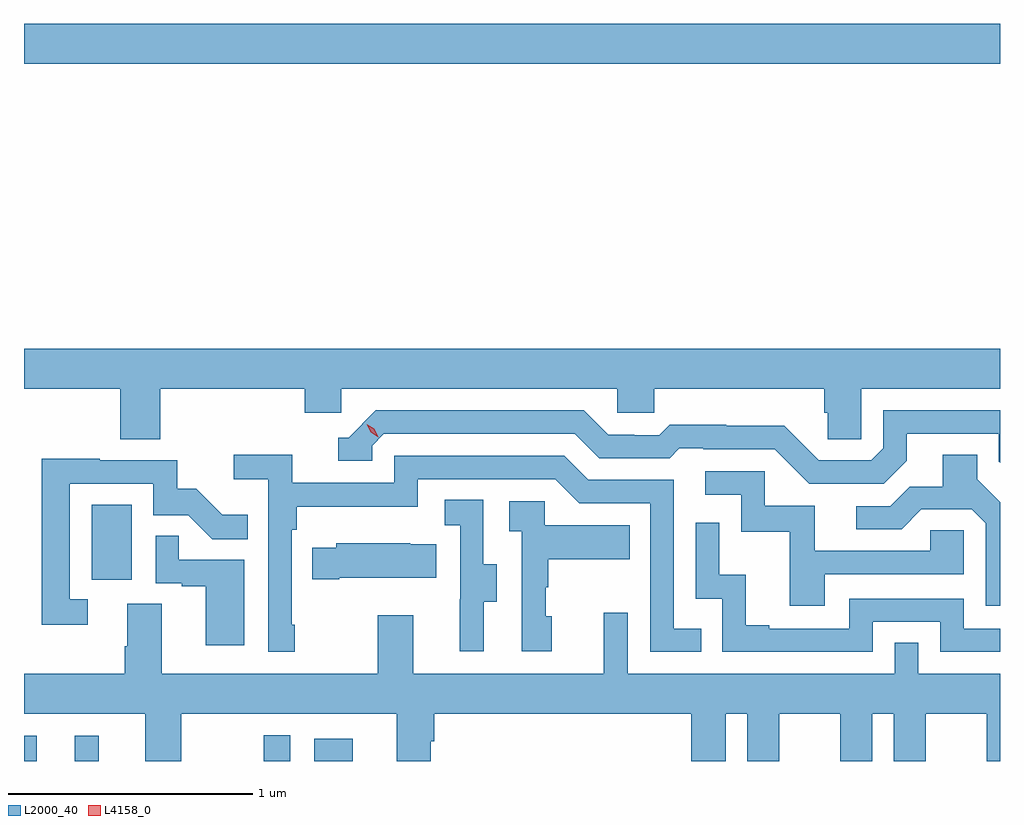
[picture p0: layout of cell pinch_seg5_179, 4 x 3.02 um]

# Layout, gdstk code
import gdstk
lib = gdstk.Library(unit=1e-6, precision=1e-09)
def R(c, l, rs):  # rectangles x0, y0, x1, y1
    for r in rs: c.add(gdstk.rectangle(r[:2], r[2:], *l))
def P(c, l, *ps):  # polygons
    for p in ps: c.add(gdstk.Polygon(p, *l))
L2000_40 = (2000, 40)
L4158_0 = (4158, 0)

pinch_seg5_179 = lib.new_cell('pinch_seg5_179')
R(pinch_seg5_179, L2000_40, [(1116.313,877.877,1116.366,877.981), (1116.521,877.877,1116.62,877.981), (1117.296,877.877,1117.404,877.984), (1117.502,877.877,1117.66,877.969), (1116.59,878.622,1116.754,878.929), (1116.313,880.736,1120.313,880.9)])
P(pinch_seg5_179, L2000_40, [(1116.872,879.404),(1117.463,879.404),(1117.463,879.306),(1117.614,879.306),(1117.614,879.404),(1118.745,879.404),(1118.745,879.306),(1118.895,879.306),(1118.895,879.404),(1119.593,879.404),(1119.593,879.306),(1119.607,879.306),(1119.607,879.196),(1119.744,879.196),(1119.744,879.404),(1120.313,879.404),(1120.313,879.568),(1116.313,879.568),(1116.313,879.404),(1116.707,879.404),(1116.707,879.196),(1116.872,879.196)],
  [(1119.931,879.109),(1119.931,879.219),(1120.308,879.219),(1120.308,879.105),(1120.313,879.1),(1120.313,879.315),(1119.834,879.315),(1119.834,879.159),(1119.786,879.111),(1119.57,879.111),(1119.428,879.253),(1119.192,879.253),(1119.192,879.256),(1118.959,879.256),(1118.917,879.213),(1118.814,879.213),(1118.814,879.216),(1118.707,879.216),(1118.608,879.315),(1117.755,879.315),(1117.644,879.204),(1117.601,879.204),(1117.601,879.108),(1117.74,879.108),(1117.74,879.171),(1117.788,879.219),(1118.571,879.219),(1118.67,879.12),(1118.959,879.12),(1118.998,879.159),(1119.097,879.159),(1119.097,879.156),(1119.39,879.156),(1119.531,879.015),(1119.837,879.015)],
  [(1117.423,878.437),(1117.41,878.437),(1117.41,878.825),(1117.43,878.825),(1117.43,878.921),(1117.926,878.921),(1117.926,879.033),(1118.49,879.033),(1118.589,878.934),(1118.88,878.934),(1118.88,878.325),(1119.089,878.325),(1119.089,878.421),(1118.976,878.421),(1118.976,879.03),(1118.626,879.03),(1118.527,879.129),(1117.83,879.129),(1117.83,879.018),(1117.412,879.018),(1117.412,879.134),(1117.173,879.134),(1117.173,879.032),(1117.314,879.032),(1117.314,878.325),(1117.423,878.325)],
  [(1120.313,878.938),(1120.219,879.032),(1120.219,879.134),(1120.079,879.134),(1120.079,879.002),(1119.944,879.002),(1119.864,878.922),(1119.723,878.922),(1119.723,878.829),(1119.91,878.829),(1119.991,878.91),(1120.197,878.91),(1120.254,878.853),(1120.254,878.514),(1120.313,878.514)],
  [(1116.574,878.541),(1116.501,878.541),(1116.501,879.015),(1116.843,879.015),(1116.843,878.886),(1116.987,878.886),(1117.085,878.788),(1117.229,878.788),(1117.229,878.887),(1117.125,878.887),(1117.018,878.994),(1116.942,878.994),(1116.942,879.111),(1116.623,879.111),(1116.623,879.116),(1116.385,879.116),(1116.385,878.436),(1116.574,878.436)],
  [(1119.595,878.643),(1120.164,878.643),(1120.164,878.823),(1120.027,878.823),(1120.027,878.739),(1119.553,878.739),(1119.553,878.925),(1119.348,878.925),(1119.348,879.066),(1119.105,879.066),(1119.105,878.97),(1119.252,878.97),(1119.252,878.817),(1119.451,878.817),(1119.451,878.514),(1119.595,878.514)],
  [(1118.197,878.53),(1118.251,878.53),(1118.251,878.685),(1118.196,878.685),(1118.196,878.948),(1118.037,878.948),(1118.037,878.845),(1118.1,878.845),(1118.1,878.541),(1118.099,878.541),(1118.099,878.328),(1118.197,878.328)],
  [(1118.476,878.472),(1118.451,878.472),(1118.451,878.591),(1118.461,878.591),(1118.461,878.705),(1118.795,878.705),(1118.795,878.845),(1118.448,878.845),(1118.448,878.943),(1118.301,878.943),(1118.301,878.819),(1118.352,878.819),(1118.352,878.328),(1118.476,878.328)],
  [(1119.792,878.448),(1120.068,878.448),(1120.068,878.325),(1120.313,878.325),(1120.313,878.421),(1120.164,878.421),(1120.164,878.544),(1119.696,878.544),(1119.696,878.421),(1119.367,878.421),(1119.367,878.434),(1119.272,878.434),(1119.272,878.642),(1119.162,878.642),(1119.162,878.854),(1119.066,878.854),(1119.066,878.544),(1119.174,878.544),(1119.174,878.325),(1119.792,878.325)],
  [(1117.216,878.703),(1116.947,878.703),(1116.947,878.801),(1116.852,878.801),(1116.852,878.607),(1116.959,878.607),(1116.959,878.595),(1117.058,878.595),(1117.058,878.352),(1117.216,878.352)],
  [(1117.606,878.63),(1118.003,878.63),(1118.003,878.767),(1117.895,878.767),(1117.895,878.77),(1117.593,878.77),(1117.593,878.752),(1117.495,878.752),(1117.495,878.623),(1117.606,878.623)],
  [(1116.957,878.072),(1117.841,878.072),(1117.841,877.877),(1117.981,877.877),(1117.981,877.96),(1117.994,877.96),(1117.994,878.072),(1119.047,878.072),(1119.047,877.877),(1119.19,877.877),(1119.19,878.072),(1119.278,878.072),(1119.278,877.877),(1119.409,877.877),(1119.409,878.072),(1119.659,878.072),(1119.659,877.877),(1119.79,877.877),(1119.79,878.072),(1119.878,878.072),(1119.878,877.877),(1120.009,877.877),(1120.009,878.072),(1120.259,878.072),(1120.259,877.877),(1120.313,877.877),(1120.313,878.236),(1119.978,878.236),(1119.978,878.363),(1119.882,878.363),(1119.882,878.236),(1118.787,878.236),(1118.787,878.485),(1118.69,878.485),(1118.69,878.236),(1117.909,878.236),(1117.909,878.476),(1117.762,878.476),(1117.762,878.236),(1116.877,878.236),(1116.877,878.522),(1116.737,878.522),(1116.737,878.348),(1116.725,878.348),(1116.725,878.236),(1116.313,878.236),(1116.313,878.072),(1116.809,878.072),(1116.809,877.877),(1116.957,877.877)])
P(pinch_seg5_179, L4158_0, [(1117.765,879.206),(1117.734,879.225),(1117.717,879.258),(1117.717,879.258),(1117.718,879.258),(1117.749,879.239),(1117.765,879.206),(1117.765,879.206)])

lib.write_gds('pinch_seg5_179.gds')
